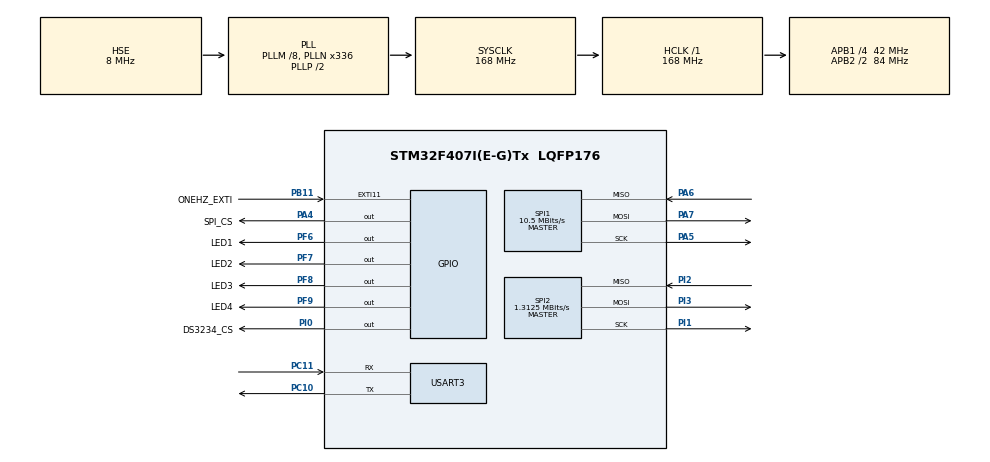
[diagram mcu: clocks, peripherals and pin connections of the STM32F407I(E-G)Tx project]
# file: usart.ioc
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FREERTOS.Tasks01=defaultTask,-3,128,StartDefaultTask,Default;myTask02,0,128,StartTask02,Default;myTask03,0,128,StartTask03,Default;myTask01,0,128,StartTask01,Default;myTask04,0,128,StartTask04,Default
FREERTOS.configENABLE_BACKWARD_COMPATIBILITY=0
FREERTOS.configUSE_IDLE_HOOK=1
Mcu.Family=STM32F4
Mcu.Name=STM32F407I(E-G)Tx
Mcu.Package=LQFP176
NVIC.EXTI15_10_IRQn=true\:5\:0\:false
NVIC.PriorityGroup=NVIC_PRIORITYGROUP_4
PA4.GPIO_Label=SPI_CS
PA4.PinState=GPIO_PIN_SET
PA4.Signal=GPIO_Output
PA5.Mode=Full_Duplex_Master
PA5.Signal=SPI1_SCK
PA6.Mode=Full_Duplex_Master
PA6.Signal=SPI1_MISO
PA7.Mode=Full_Duplex_Master
PA7.Signal=SPI1_MOSI
PB11.GPIO_Label=ONEHZ_EXTI
PB11.GPIO_ModeDefaultEXTI=GPIO_MODE_IT_RISING_FALLING
PB11.Signal=GPXTI11
PC10.Mode=Asynchronous
PC10.Signal=USART3_TX
PC11.Mode=Asynchronous
PC11.Signal=USART3_RX
PF6.GPIO_Label=LED1
PF6.GPIO_Speed=GPIO_SPEED_HIGH
PF6.Signal=GPIO_Output
PF7.GPIO_Label=LED2
PF7.GPIO_Speed=GPIO_SPEED_HIGH
PF7.Signal=GPIO_Output
PF8.GPIO_Label=LED3
PF8.GPIO_Speed=GPIO_SPEED_HIGH
PF8.Signal=GPIO_Output
PF9.GPIO_Label=LED4
PF9.GPIO_Speed=GPIO_SPEED_HIGH
PF9.Signal=GPIO_Output
PH0-OSC_IN.Mode=HSE-External-Oscillator
PH0-OSC_IN.Signal=RCC_OSC_IN
PH1-OSC_OUT.Mode=HSE-External-Oscillator
PH1-OSC_OUT.Signal=RCC_OSC_OUT
PI0.GPIO_Label=DS3234_CS
PI0.PinState=GPIO_PIN_SET
PI0.Signal=GPIO_Output
PI1.Mode=Full_Duplex_Master
PI1.Signal=SPI2_SCK
PI2.Mode=Full_Duplex_Master
PI2.Signal=SPI2_MISO
PI3.Mode=Full_Duplex_Master
PI3.Signal=SPI2_MOSI
ProjectManager.HeapSize=0x400
ProjectManager.StackSize=0x200
ProjectManager.TargetToolchain=SW4STM32
RCC.48MHZClocksFreq_Value=84000000
RCC.AHBFreq_Value=168000000
RCC.APB1CLKDivider=RCC_HCLK_DIV4
RCC.APB1Freq_Value=42000000
RCC.APB1TimFreq_Value=84000000
RCC.APB2CLKDivider=RCC_HCLK_DIV2
RCC.APB2Freq_Value=84000000
RCC.APB2TimFreq_Value=168000000
RCC.CortexFreq_Value=168000000
RCC.HCLKFreq_Value=168000000
RCC.HSE_VALUE=8000000
RCC.HSI_VALUE=16000000
RCC.LSE_VALUE=32768
RCC.PLLM=8
RCC.PLLN=336
RCC.PLLSourceVirtual=RCC_PLLSOURCE_HSE
RCC.SYSCLKFreq_VALUE=168000000
RCC.SYSCLKSource=RCC_SYSCLKSOURCE_PLLCLK
RCC.VCOOutputFreq_Value=336000000
SPI1.BaudRatePrescaler=SPI_BAUDRATEPRESCALER_8
SPI1.CLKPhase=SPI_PHASE_2EDGE
SPI1.CLKPolarity=SPI_POLARITY_HIGH
SPI1.CalculateBaudRate=10.5 MBits/s
SPI1.DataSize=SPI_DATASIZE_8BIT
SPI1.FirstBit=SPI_FIRSTBIT_LSB
SPI1.Mode=SPI_MODE_MASTER
SPI2.BaudRatePrescaler=SPI_BAUDRATEPRESCALER_32
SPI2.CLKPhase=SPI_PHASE_2EDGE
SPI2.CLKPolarity=SPI_POLARITY_HIGH
SPI2.CalculateBaudRate=1.3125 MBits/s
SPI2.Mode=SPI_MODE_MASTER
VP_FREERTOS_VS_ENABLE.Mode=Enabled
board=usart

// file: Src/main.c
/**
 ******************************************************************************
 * File Name          : main.c
 * Description        : Main program body
 ******************************************************************************
 *
 * COPYRIGHT(c) 2016 STMicroelectronics
 *
 * Redistribution and use in source and binary forms, with or without modification,
 * are permitted provided that the following conditions are met:
 *   1. Redistributions of source code must retain the above copyright notice,
 *      this list of conditions and the following disclaimer.
 *   2. Redistributions in binary form must reproduce the above copyright notice,
 *      this list of conditions and the following disclaimer in the documentation
 *      and/or other materials provided with the distribution.
 *   3. Neither the name of STMicroelectronics nor the names of its contributors
 *      may be used to endorse or promote products derived from this software
 *      without specific prior written permission.
 *
 * THIS SOFTWARE IS PROVIDED BY THE COPYRIGHT HOLDERS AND CONTRIBUTORS "AS IS"
 * AND ANY EXPRESS OR IMPLIED WARRANTIES, INCLUDING, BUT NOT LIMITED TO, THE
 * IMPLIED WARRANTIES OF MERCHANTABILITY AND FITNESS FOR A PARTICULAR PURPOSE ARE
 * DISCLAIMED. IN NO EVENT SHALL THE COPYRIGHT HOLDER OR CONTRIBUTORS BE LIABLE
 * FOR ANY DIRECT, INDIRECT, INCIDENTAL, SPECIAL, EXEMPLARY, OR CONSEQUENTIAL
 * DAMAGES (INCLUDING, BUT NOT LIMITED TO, PROCUREMENT OF SUBSTITUTE GOODS OR
 * SERVICES; LOSS OF USE, DATA, OR PROFITS; OR BUSINESS INTERRUPTION) HOWEVER
 * CAUSED AND ON ANY THEORY OF LIABILITY, WHETHER IN CONTRACT, STRICT LIABILITY,
 * OR TORT (INCLUDING NEGLIGENCE OR OTHERWISE) ARISING IN ANY WAY OUT OF THE USE
 * OF THIS SOFTWARE, EVEN IF ADVISED OF THE POSSIBILITY OF SUCH DAMAGE.
 *
 ******************************************************************************
 */
#include "stm32f4xx_hal.h"
#include "cmsis_os.h"

/* USER CODE BEGIN Includes */
#define bcd2bin(x)        (((x) & 0x0f) + ((x) >> 4) * 10)
#define bin2bcd(x)        ((((x) / 10) << 4) + (x) % 10)

#define DS3234_REG_SECONDS      0x00
#define DS3234_REG_MINUTES      0x01
#define DS3234_REG_HOURS        0x02
#define DS3234_REG_DAY          0x03
#define DS3234_REG_DATE         0x04
#define DS3234_REG_MONTH        0x05
#define DS3234_REG_YEAR         0x06
#define DS3234_REG_CENTURY      (1 << 7) /* Bit 7 of the Month register */

#define DS3234_REG_CONTROL      0x0E
#define DS3234_REG_CONT_STAT    0x0F

#define RXBUFFERSIZE  33
uint8_t aTxBuffer[] = "www.aisekne.com/f4discofree - 0\r\n";
uint8_t halfsecTicks = 0;

/* USER CODE END Includes */

SPI_HandleTypeDef hspi1;
SPI_HandleTypeDef hspi2;

UART_HandleTypeDef huart3;

osThreadId defaultTaskHandle;
osThreadId myTask02Handle;
osThreadId myTask03Handle;
osThreadId myTask01Handle;
osThreadId myTask04Handle;

/* USER CODE BEGIN PV */
/* Private variables ---------------------------------------------------------*/

/* USER CODE END PV */

void SystemClock_Config(void);
static void MX_GPIO_Init(void);
static void MX_USART3_UART_Init(void);
static void MX_SPI1_Init(void);
static void MX_SPI2_Init(void);
void StartDefaultTask(void const * argument);
void StartTask02(void const * argument);
void StartTask03(void const * argument);
void StartTask01(void const * argument);
void StartTask04(void const * argument);

/* USER CODE BEGIN PFP */
/* Private function prototypes -----------------------------------------------*/

struct rtc_time {
	uint8_t tm_sec;
	uint8_t tm_min;
	uint8_t tm_hour;
	uint8_t tm_mday;
	uint8_t tm_mon;
	uint8_t tm_year;
	uint8_t tm_wday;
	uint8_t tm_yday;
	uint8_t tm_isdst;
} now_t = { 06, 57, 22, 13, 2, 16, 6, 0, 0 };

uint8_t CODE11G[] =
		{ 0xE7, 0x44, 0xAD, 0xCD, 0x4E, 0xCB, 0xEB, 0x45, 0xEF, 0xCF };

void vfd_write_display(uint8_t addr, uint8_t digit, uint8_t flag) {
	addr += 0xC0;
	flag |= CODE11G[digit];
	HAL_GPIO_WritePin(SPI_CS_GPIO_Port, SPI_CS_Pin, GPIO_PIN_RESET);
	HAL_SPI_Transmit(&hspi1, &addr, 1, 1000);
	HAL_SPI_Transmit(&hspi1, &flag, 1, 1000);
	HAL_GPIO_WritePin(SPI_CS_GPIO_Port, SPI_CS_Pin, GPIO_PIN_SET);
}

void vfd_write_display_flag(uint8_t addr, uint8_t flag) {
	addr += 0xC0;
	HAL_GPIO_WritePin(SPI_CS_GPIO_Port, SPI_CS_Pin, GPIO_PIN_RESET);
	HAL_SPI_Transmit(&hspi1, &addr, 1, 1000);
	HAL_SPI_Transmit(&hspi1, &flag, 1, 1000);
	HAL_GPIO_WritePin(SPI_CS_GPIO_Port, SPI_CS_Pin, GPIO_PIN_SET);
}

void vfd_display() {

	vfd_write_display(0x14, now_t.tm_sec % 10, 0x00);
	vfd_write_display(0x12, now_t.tm_sec / 10, 0x10);
	vfd_write_display(0x10, now_t.tm_min % 10, 0x00);
	vfd_write_display(0x0E, now_t.tm_min / 10, 0x10);
	vfd_write_display(0x0C, now_t.tm_hour % 10, 0x00);
	vfd_write_display(0x0A, now_t.tm_hour / 10, 0x00);
	vfd_write_display(0x08, now_t.tm_mday % 10, 0x00);
	vfd_write_display_flag(0x07, 0x01);
	vfd_write_display(0x06, now_t.tm_mday / 10, 0x00);
	vfd_write_display(0x04, now_t.tm_mon % 10, 0x00);
	vfd_write_display(0x02, now_t.tm_mon / 10, 0x00);

}

void ds3234_set_reg(uint8_t addr, uint8_t val) {
	addr |= 0x80;
	HAL_GPIO_WritePin(DS3234_CS_GPIO_Port, DS3234_CS_Pin, GPIO_PIN_RESET);
	HAL_SPI_Transmit(&hspi2, &addr, 1, 1000);
	HAL_SPI_Receive(&hspi2, &val, 1, 1000);
	HAL_GPIO_WritePin(DS3234_CS_GPIO_Port, DS3234_CS_Pin, GPIO_PIN_SET);
}

void ds3234_get_reg(uint8_t addr, uint8_t* val) {
	addr &= 0x7F;
	HAL_GPIO_WritePin(DS3234_CS_GPIO_Port, DS3234_CS_Pin, GPIO_PIN_RESET);
	HAL_SPI_Transmit(&hspi2, &addr, 1, 1000);
	HAL_SPI_Receive(&hspi2, val, 1, 1000);
	HAL_GPIO_WritePin(DS3234_CS_GPIO_Port, DS3234_CS_Pin, GPIO_PIN_SET);
}

void ds3234_read_time() {
	/* Seconds, Minutes, Hours, Day, Date, Month, Year */
	ds3234_get_reg(DS3234_REG_SECONDS, &now_t.tm_sec);
	now_t.tm_sec = bcd2bin(now_t.tm_sec);
	ds3234_get_reg(DS3234_REG_MINUTES, &now_t.tm_min);
	now_t.tm_min = bcd2bin(now_t.tm_min);
	ds3234_get_reg(DS3234_REG_HOURS, &now_t.tm_hour);
	now_t.tm_hour = bcd2bin(now_t.tm_hour & 0x3f);
	ds3234_get_reg(DS3234_REG_DAY, &now_t.tm_wday);
	now_t.tm_wday = bcd2bin(now_t.tm_wday) - 1; /* 0 = Sun */
	ds3234_get_reg(DS3234_REG_DATE, &now_t.tm_mday);
	now_t.tm_mday = bcd2bin(now_t.tm_mday);
	ds3234_get_reg(DS3234_REG_MONTH, &now_t.tm_mon);
	now_t.tm_mon = bcd2bin(now_t.tm_mon & 0x1f) - 1; /* 0 = Jan */
	ds3234_get_reg(DS3234_REG_YEAR, &now_t.tm_year);
	now_t.tm_year = bcd2bin(now_t.tm_year & 0xff) + 100; /* Assume 20YY */
}

void ds3234_set_time() {
	ds3234_set_reg(DS3234_REG_SECONDS, bin2bcd(now_t.tm_sec));
	ds3234_set_reg(DS3234_REG_MINUTES, bin2bcd(now_t.tm_min));
	ds3234_set_reg(DS3234_REG_HOURS, bin2bcd(now_t.tm_hour) & 0x3f);

	/* 0 = Sun */
	ds3234_set_reg(DS3234_REG_DAY, bin2bcd(now_t.tm_wday + 1));
	ds3234_set_reg(DS3234_REG_DATE, bin2bcd(now_t.tm_mday));

	/* 0 = Jan */
	ds3234_set_reg(DS3234_REG_MONTH, bin2bcd(now_t.tm_mon + 1));

	/* Assume 20YY although we just want to make sure not to go negative. */
	if (now_t.tm_year > 100)
		now_t.tm_year -= 100;

	ds3234_set_reg(DS3234_REG_YEAR, bin2bcd(now_t.tm_year));
}

/* USER CODE END PFP */

int main(void) {

	/* MCU Configuration----------------------------------------------------------*/

	/* Reset of all peripherals, Initializes the Flash interface and the Systick. */
	HAL_Init();

	/* Configure the system clock */
	SystemClock_Config();

	/* Initialize all configured peripherals */
	MX_GPIO_Init();
	MX_USART3_UART_Init();
	MX_SPI1_Init();
	MX_SPI2_Init();

	/* USER CODE BEGIN 2 */

	uint8_t init_bytes[] = { 0x07, 0x40, 0xC0, 0x01, 0x00, 0x8C, 0x8E, 0x00 };

	for (int i = 0; i < 2; i++) {
		HAL_GPIO_WritePin(SPI_CS_GPIO_Port, SPI_CS_Pin, GPIO_PIN_RESET);
		HAL_SPI_Transmit(&hspi1, (uint8_t*) (&init_bytes[i]), 1, 1000);
		HAL_GPIO_WritePin(SPI_CS_GPIO_Port, SPI_CS_Pin, GPIO_PIN_SET);
	}

	for (int i = 0; i < 0x16; i++) {
		HAL_GPIO_WritePin(SPI_CS_GPIO_Port, SPI_CS_Pin, GPIO_PIN_RESET);
		HAL_SPI_Transmit(&hspi1, (uint8_t*) (&init_bytes[2]), 1, 1000);
		HAL_SPI_Transmit(&hspi1, (uint8_t*) (&init_bytes[4]), 1, 1000);
		init_bytes[2]++;
		HAL_GPIO_WritePin(SPI_CS_GPIO_Port, SPI_CS_Pin, GPIO_PIN_SET);
	}

	HAL_GPIO_WritePin(SPI_CS_GPIO_Port, SPI_CS_Pin, GPIO_PIN_RESET);
	HAL_SPI_Transmit(&hspi1, (uint8_t*) (&init_bytes[5]), 1, 1000);
	HAL_GPIO_WritePin(SPI_CS_GPIO_Port, SPI_CS_Pin, GPIO_PIN_SET);

//	ds3234_set_time();
	vfd_display();

	ds3234_set_reg(DS3234_REG_CONTROL, 0x00);

//	vfd_write_display_flag(0x03, 0x04);
//	vfd_write_display_flag(0x0F, 0x03);

	while (1) {
	};

	/* USER CODE END 2 */

	/* Create the thread(s) */
	/* definition and creation of defaultTask */
	osThreadDef(defaultTask, StartDefaultTask, osPriorityIdle, 0, 128);
	defaultTaskHandle = osThreadCreate(osThread(defaultTask), NULL);

	/* definition and creation of myTask02 */
	osThreadDef(myTask02, StartTask02, osPriorityNormal, 0, 128);
	myTask02Handle = osThreadCreate(osThread(myTask02), NULL);

	/* definition and creation of myTask03 */
	osThreadDef(myTask03, StartTask03, osPriorityNormal, 0, 128);
	myTask03Handle = osThreadCreate(osThread(myTask03), NULL);

	/* definition and creation of myTask01 */
	osThreadDef(myTask01, StartTask01, osPriorityNormal, 0, 128);
	myTask01Handle = osThreadCreate(osThread(myTask01), NULL);

	/* definition and creation of myTask04 */
	osThreadDef(myTask04, StartTask04, osPriorityNormal, 0, 128);
	myTask04Handle = osThreadCreate(osThread(myTask04), NULL);

	/* Start scheduler */
	osKernelStart();

	/* We should never get here as control is now taken by the scheduler */

	/* Infinite loop */
	/* USER CODE BEGIN WHILE */
	char i = 0;

	while (1) {
		/* USER CODE END WHILE */

		/* USER CODE BEGIN 3 */

		HAL_GPIO_TogglePin(LED1_GPIO_Port, LED1_Pin);
		HAL_GPIO_TogglePin(LED2_GPIO_Port, LED2_Pin);
		HAL_GPIO_TogglePin(LED3_GPIO_Port, LED3_Pin);
		HAL_GPIO_TogglePin(LED4_GPIO_Port, LED4_Pin);

		aTxBuffer[30] = ((i++) % 10) + '0';
		HAL_UART_Transmit(&huart3, aTxBuffer, RXBUFFERSIZE, 5000);
		HAL_Delay(1000);
	}
	/* USER CODE END 3 */

}

/** System Clock Configuration
 */
void SystemClock_Config(void) {

	RCC_OscInitTypeDef RCC_OscInitStruct;
	RCC_ClkInitTypeDef RCC_ClkInitStruct;

	__PWR_CLK_ENABLE()
	;

	__HAL_PWR_VOLTAGESCALING_CONFIG(PWR_REGULATOR_VOLTAGE_SCALE1);

	RCC_OscInitStruct.OscillatorType = RCC_OSCILLATORTYPE_HSE;
	RCC_OscInitStruct.HSEState = RCC_HSE_ON;
	RCC_OscInitStruct.PLL.PLLState = RCC_PLL_ON;
	RCC_OscInitStruct.PLL.PLLSource = RCC_PLLSOURCE_HSE;
	RCC_OscInitStruct.PLL.PLLM = 8;
	RCC_OscInitStruct.PLL.PLLN = 336;
	RCC_OscInitStruct.PLL.PLLP = RCC_PLLP_DIV2;
	RCC_OscInitStruct.PLL.PLLQ = 4;
	HAL_RCC_OscConfig(&RCC_OscInitStruct);

	RCC_ClkInitStruct.ClockType = RCC_CLOCKTYPE_HCLK | RCC_CLOCKTYPE_SYSCLK
			| RCC_CLOCKTYPE_PCLK1 | RCC_CLOCKTYPE_PCLK2;
	RCC_ClkInitStruct.SYSCLKSource = RCC_SYSCLKSOURCE_PLLCLK;
	RCC_ClkInitStruct.AHBCLKDivider = RCC_SYSCLK_DIV1;
	RCC_ClkInitStruct.APB1CLKDivider = RCC_HCLK_DIV4;
	RCC_ClkInitStruct.APB2CLKDivider = RCC_HCLK_DIV2;
	HAL_RCC_ClockConfig(&RCC_ClkInitStruct, FLASH_LATENCY_5);

	HAL_SYSTICK_Config(HAL_RCC_GetHCLKFreq() / 1000);

	HAL_SYSTICK_CLKSourceConfig(SYSTICK_CLKSOURCE_HCLK);

	/* SysTick_IRQn interrupt configuration */
	HAL_NVIC_SetPriority(SysTick_IRQn, 15, 0);
}

/* SPI1 init function */
void MX_SPI1_Init(void) {

	hspi1.Instance = SPI1;
	hspi1.Init.Mode = SPI_MODE_MASTER;
	hspi1.Init.Direction = SPI_DIRECTION_2LINES;
	hspi1.Init.DataSize = SPI_DATASIZE_8BIT;
	hspi1.Init.CLKPolarity = SPI_POLARITY_HIGH;
	hspi1.Init.CLKPhase = SPI_PHASE_2EDGE;
	hspi1.Init.NSS = SPI_NSS_SOFT;
	hspi1.Init.BaudRatePrescaler = SPI_BAUDRATEPRESCALER_8;
	hspi1.Init.FirstBit = SPI_FIRSTBIT_LSB;
	hspi1.Init.TIMode = SPI_TIMODE_DISABLED;
	hspi1.Init.CRCCalculation = SPI_CRCCALCULATION_DISABLED;
	hspi1.Init.CRCPolynomial = 10;
	HAL_SPI_Init(&hspi1);

}

/* SPI2 init function */
void MX_SPI2_Init(void) {

	hspi2.Instance = SPI2;
	hspi2.Init.Mode = SPI_MODE_MASTER;
	hspi2.Init.Direction = SPI_DIRECTION_2LINES;
	hspi2.Init.DataSize = SPI_DATASIZE_8BIT;
	hspi2.Init.CLKPolarity = SPI_POLARITY_HIGH;
	hspi2.Init.CLKPhase = SPI_PHASE_2EDGE;
	hspi2.Init.NSS = SPI_NSS_SOFT;
	hspi2.Init.BaudRatePrescaler = SPI_BAUDRATEPRESCALER_32;
	hspi2.Init.FirstBit = SPI_FIRSTBIT_MSB;
	hspi2.Init.TIMode = SPI_TIMODE_DISABLED;
	hspi2.Init.CRCCalculation = SPI_CRCCALCULATION_DISABLED;
	hspi2.Init.CRCPolynomial = 10;
	HAL_SPI_Init(&hspi2);

}

/* USART3 init function */
void MX_USART3_UART_Init(void) {

	huart3.Instance = USART3;
	huart3.Init.BaudRate = 115200;
	huart3.Init.WordLength = UART_WORDLENGTH_8B;
	huart3.Init.StopBits = UART_STOPBITS_1;
	huart3.Init.Parity = UART_PARITY_NONE;
	huart3.Init.Mode = UART_MODE_TX_RX;
	huart3.Init.HwFlowCtl = UART_HWCONTROL_NONE;
	huart3.Init.OverSampling = UART_OVERSAMPLING_16;
	HAL_UART_Init(&huart3);

}

/** Configure pins as
 * Analog
 * Input
 * Output
 * EVENT_OUT
 * EXTI
 */
void MX_GPIO_Init(void) {

	GPIO_InitTypeDef GPIO_InitStruct;

	/* GPIO Ports Clock Enable */
	__GPIOF_CLK_ENABLE()
	;
	__GPIOH_CLK_ENABLE()
	;
	__GPIOA_CLK_ENABLE()
	;
	__GPIOB_CLK_ENABLE()
	;
	__GPIOI_CLK_ENABLE()
	;
	__GPIOC_CLK_ENABLE()
	;

	/*Configure GPIO pin Output Level */
	HAL_GPIO_WritePin(GPIOF, LED1_Pin | LED2_Pin | LED3_Pin | LED4_Pin,
			GPIO_PIN_RESET);

	/*Configure GPIO pin Output Level */
	HAL_GPIO_WritePin(SPI_CS_GPIO_Port, SPI_CS_Pin, GPIO_PIN_SET);

	/*Configure GPIO pin Output Level */
	HAL_GPIO_WritePin(DS3234_CS_GPIO_Port, DS3234_CS_Pin, GPIO_PIN_SET);

	/*Configure GPIO pins : LED1_Pin LED2_Pin LED3_Pin LED4_Pin */
	GPIO_InitStruct.Pin = LED1_Pin | LED2_Pin | LED3_Pin | LED4_Pin;
	GPIO_InitStruct.Mode = GPIO_MODE_OUTPUT_PP;
	GPIO_InitStruct.Pull = GPIO_NOPULL;
	GPIO_InitStruct.Speed = GPIO_SPEED_HIGH;
	HAL_GPIO_Init(GPIOF, &GPIO_InitStruct);

	/*Configure GPIO pin : SPI_CS_Pin */
	GPIO_InitStruct.Pin = SPI_CS_Pin;
	GPIO_InitStruct.Mode = GPIO_MODE_OUTPUT_PP;
	GPIO_InitStruct.Pull = GPIO_NOPULL;
	GPIO_InitStruct.Speed = GPIO_SPEED_LOW;
	HAL_GPIO_Init(SPI_CS_GPIO_Port, &GPIO_InitStruct);

	/*Configure GPIO pin : ONEHZ_EXTI_Pin */
	GPIO_InitStruct.Pin = ONEHZ_EXTI_Pin;
	GPIO_InitStruct.Mode = GPIO_MODE_IT_RISING_FALLING;
	GPIO_InitStruct.Pull = GPIO_NOPULL;
	HAL_GPIO_Init(ONEHZ_EXTI_GPIO_Port, &GPIO_InitStruct);

	/*Configure GPIO pin : DS3234_CS_Pin */
	GPIO_InitStruct.Pin = DS3234_CS_Pin;
	GPIO_InitStruct.Mode = GPIO_MODE_OUTPUT_PP;
	GPIO_InitStruct.Pull = GPIO_NOPULL;
	GPIO_InitStruct.Speed = GPIO_SPEED_LOW;
	HAL_GPIO_Init(DS3234_CS_GPIO_Port, &GPIO_InitStruct);

	/* EXTI interrupt init*/
	HAL_NVIC_SetPriority(EXTI15_10_IRQn, 5, 0);
	HAL_NVIC_EnableIRQ(EXTI15_10_IRQn);

}

/* USER CODE BEGIN 4 */
void HAL_GPIO_EXTI_Callback(uint16_t GPIO_Pin) {
//	return;
	halfsecTicks++;
	ds3234_read_time();
	vfd_display();
}
/* USER CODE END 4 */

/* StartDefaultTask function */
void StartDefaultTask(void const * argument) {

	/* USER CODE BEGIN 5 */
	/* Infinite loop */
	for (;;) {
		osDelay(10);
	}
	/* USER CODE END 5 */
}

/* StartTask02 function */
void StartTask02(void const * argument) {
	/* USER CODE BEGIN StartTask02 */
	/* Infinite loop */
	for (;;) {
		HAL_GPIO_TogglePin(LED2_GPIO_Port, LED2_Pin);
		osDelay(200);
	}
	/* USER CODE END StartTask02 */
}

/* StartTask03 function */
void StartTask03(void const * argument) {
	/* USER CODE BEGIN StartTask03 */
	/* Infinite loop */
	for (;;) {
		HAL_GPIO_TogglePin(LED3_GPIO_Port, LED3_Pin);
		osDelay(300);
	}
	/* USER CODE END StartTask03 */
}

/* StartTask01 function */
void StartTask01(void const * argument) {
	/* USER CODE BEGIN StartTask01 */
	/* Infinite loop */
	for (;;) {
		HAL_GPIO_TogglePin(LED1_GPIO_Port, LED1_Pin);
		osDelay(100);
	}
	/* USER CODE END StartTask01 */
}

/* StartTask04 function */
void StartTask04(void const * argument) {
	/* USER CODE BEGIN StartTask04 */
	/* Infinite loop */
	for (;;) {
		HAL_GPIO_TogglePin(LED4_GPIO_Port, LED4_Pin);
		osDelay(400);
	}
	/* USER CODE END StartTask04 */
}

/************************ (C) COPYRIGHT STMicroelectronics *****END OF FILE****/
